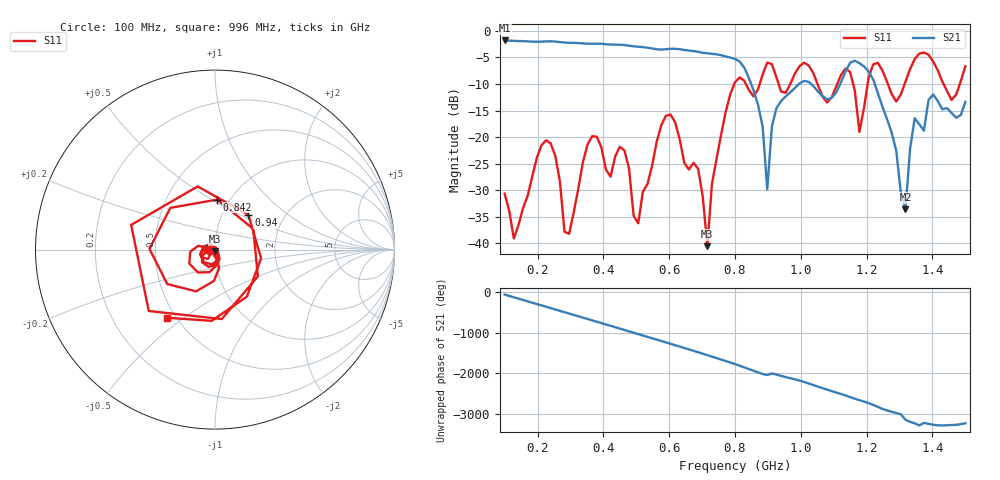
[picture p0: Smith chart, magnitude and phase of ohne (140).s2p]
! NanoVNA-App
! Date: 2025-09-25 14:21:53
! Start: 100MHz Stop: 1,5GHz Points: 101
! S-Parameter data: F S11 S21 S12 S22
# Hz S RI R 50
!  Frequency  S11_Real  S11_Imag  S21_Real  S21_Imag  S12_Real  S12_Imag  S22_Real  S22_Imag
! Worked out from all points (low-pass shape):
!   101 points, 100 MHz to 1.5 GHz, reference 50 ohm
!   highest |S21| = -1.79 dB at 100 MHz (marker M1); lowest = -33.6 dB at 1.318 GHz (marker M2)
!   |S21| within 3 dB of the highest: start of sweep to 771.1 MHz
!   lowest |S11| = -40.5 dB at 716 MHz (marker M3), VSWR 1.02, Z = 49.7 - j0.896 ohm
!   |S11| at or under -10 dB: start of sweep to 798 MHz; 833.2 MHz to 875 MHz (41.84 MHz wide, 4.9 % of centre); 1.051 GHz to 1.111 GHz (60.04 MHz wide, 5.56 % of centre) (the widest 3 of 7)
!   S12 and S22 are empty: the file has one direction only
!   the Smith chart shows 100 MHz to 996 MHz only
!   S11 on the Smith chart (normalised r, x): 100 MHz: 0.94, -0.01; 842 MHz: 0.88, +0.53; 940 MHz: 1.33, +0.55; 996 MHz: 0.45, -0.43
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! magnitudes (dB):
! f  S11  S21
! 100 MHz  -30.6  -1.8
! 128 MHz  -39.1  -1.9
! 226 MHz  -20.6  -2.0
! 296 MHz  -38.2  -2.2
! 338 MHz  -24.7  -2.3
! 464 MHz  -22.5  -2.7
! 506 MHz  -36.2  -3.0
! 576 MHz  -17.8  -3.5
! 688 MHz  -26.0  -3.9
! 716 MHz  -40.5  -4.2
! 800 MHz  -9.7  -5.3
! 842 MHz  -11.1  -8.8
! 898 MHz  -6.0  -29.9
! 940 MHz  -11.4  -13.2
! 996 MHz  -6.6  -9.9
! 1.038 GHz  -7.9  -10.4
! 1.178 GHz  -19.0  -6.1
! 1.22 GHz  -6.3  -9.2
! 1.276 GHz  -11.9  -19.1
! 1.318 GHz  -9.6  -33.6
! 1.346 GHz  -5.3  -16.4
! 1.5 GHz  -6.7  -13.4
